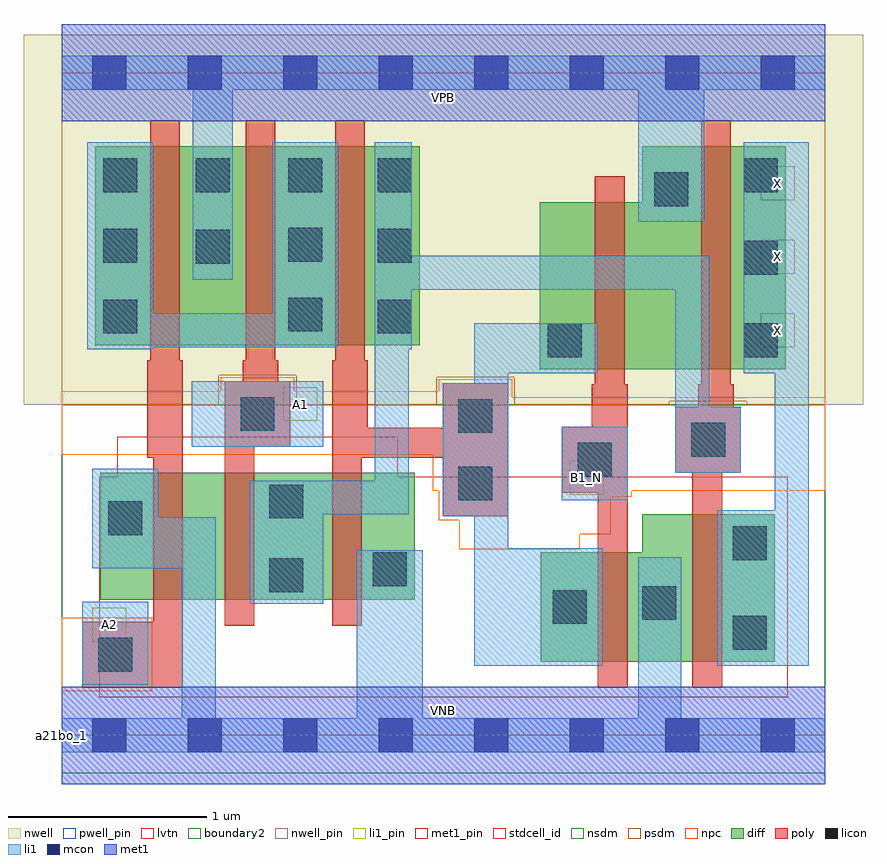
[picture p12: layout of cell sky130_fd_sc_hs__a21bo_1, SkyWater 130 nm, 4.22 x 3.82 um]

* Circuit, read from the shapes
.subckt sky130_fd_sc_hs__a21bo_1 A1 A2 B1_N VGND VNB VPB VPWR X
XM1 n1 A2 VGND VNB sky130_fd_pr__nfet_01v8_lvt w=0.64 l=0.15
XM2 n2 A1 n1 VNB sky130_fd_pr__nfet_01v8_lvt w=0.64 l=0.15
XM3 VGND n3 n2 VNB sky130_fd_pr__nfet_01v8_lvt w=0.64 l=0.15
XM4 VGND B1_N n3 VNB sky130_fd_pr__nfet_01v8_lvt w=0.55 l=0.15
XM5 X n2 VGND VNB sky130_fd_pr__nfet_01v8_lvt w=0.74 l=0.15
XM6 VPWR A2 n4 VPB sky130_fd_pr__pfet_01v8 w=1 l=0.15
XM7 n4 A1 VPWR VPB sky130_fd_pr__pfet_01v8 w=1 l=0.15
XM8 n2 n3 n4 VPB sky130_fd_pr__pfet_01v8 w=1 l=0.15
XM9 VPWR B1_N n3 VPB sky130_fd_pr__pfet_01v8 w=0.84 l=0.15
XM10 X n2 VPWR VPB sky130_fd_pr__pfet_01v8 w=1.12 l=0.15
.ends

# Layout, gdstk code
import gdstk
lib = gdstk.Library(unit=1e-6, precision=1e-09)
def R(c, l, rs):  # rectangles x0, y0, x1, y1
    for r in rs: c.add(gdstk.rectangle(r[:2], r[2:], *l))
def A(c, l, x, y, w, h, nx, ny, dx, dy):  # array of equal rectangles
    R(c, l, [(x+i*dx, y+j*dy, x+i*dx+w, y+j*dy+h) for i in range(nx) for j in range(ny)])
def P(c, l, *ps):  # polygons
    for p in ps: c.add(gdstk.Polygon(p, *l))
nwell_pin = (64, 16)
nwell = (64, 20)
diff = (65, 20)
poly = (66, 20)
licon = (66, 44)
li1_pin = (67, 16)
li1 = (67, 20)
mcon = (67, 44)
met1_pin = (68, 16)
met1 = (68, 20)
stdcell_id = (81, 4)
nsdm = (93, 44)
psdm = (94, 20)
npc = (95, 20)
pwell_pin = (122, 16)
lvtn = (125, 44)
boundary2 = (236, 0)

sky130_fd_sc_hs__a21bo_1 = lib.new_cell('sky130_fd_sc_hs__a21bo_1')
R(sky130_fd_sc_hs__a21bo_1, nwell_pin, [(0,3.085,3.84,3.33)])
R(sky130_fd_sc_hs__a21bo_1, nwell, [(-0.19,1.66,4.03,3.52)])
R(sky130_fd_sc_hs__a21bo_1, diff, [(0.195,0.68,1.775,1.32), (0.17,1.96,1.8,2.96)])
P(sky130_fd_sc_hs__a21bo_1, diff, [(3.585,1.11),(2.92,1.11),(2.92,0.92),(2.41,0.92),(2.41,0.37),(3.585,0.37)],
  [(3.64,2.96),(2.92,2.96),(2.92,2.68),(2.405,2.68),(2.405,1.84),(3.64,1.84)])
P(sky130_fd_sc_hs__a21bo_1, poly, [(3.415,1.65),(3.38,1.65),(3.38,1.765),(3.365,1.765),(3.365,3.09),(3.215,3.09),(3.215,1.765),(3.2,1.765),(3.2,1.65),(3.085,1.65),(3.085,1.32),(3.17,1.32),(3.17,0.24),(3.32,0.24),(3.32,1.32),(3.415,1.32)],
  [(2.845,1.765),(2.83,1.765),(2.83,2.81),(2.68,2.81),(2.68,1.765),(2.665,1.765),(2.665,1.55),(2.515,1.55),(2.515,1.22),(2.695,1.22),(2.695,0.24),(2.845,0.24)],
  [(2.245,1.77),(1.915,1.77),(1.915,1.545),(1.54,1.545),(1.54,1.885),(1.525,1.885),(1.525,3.09),(1.375,3.09),(1.375,1.885),(1.36,1.885),(1.36,0.55),(1.51,0.55),(1.51,1.395),(1.915,1.395),(1.915,1.1),(2.245,1.1)],
  [(1.15,1.78),(1.09,1.78),(1.09,1.885),(1.075,1.885),(1.075,3.09),(0.925,3.09),(0.925,1.885),(0.91,1.885),(0.91,1.78),(0.82,1.78),(0.82,0.55),(0.97,0.55),(0.97,1.45),(1.15,1.45)],
  [(0.61,1.885),(0.595,1.885),(0.595,3.09),(0.445,3.09),(0.445,1.885),(0.43,1.885),(0.43,1.395),(0.46,1.395),(0.46,0.57),(0.105,0.57),(0.105,0.24),(0.61,0.24)])
A(sky130_fd_sc_hs__a21bo_1, licon, 3.43, 1.9, 0.17, 0.17, 1, 3, 0, 0.415)
A(sky130_fd_sc_hs__a21bo_1, licon, 1.59, 2.02, 0.17, 0.17, 1, 3, 0, 0.355)
A(sky130_fd_sc_hs__a21bo_1, licon, 0.21, 2.73, 0.17, 0.17, 3, 1, 0.465, 0)
R(sky130_fd_sc_hs__a21bo_1, licon, [(0.185,0.32,0.355,0.49), (3.375,0.43,3.545,0.6), (2.47,0.56,2.64,0.73), (2.92,0.58,3.09,0.75), (1.045,0.72,1.215,0.89), (1.565,0.75,1.735,0.92), (3.375,0.88,3.545,1.05), (0.235,1.005,0.405,1.175), (1.045,1.09,1.215,1.26), (1.995,1.18,2.165,1.35), (2.595,1.3,2.765,1.47), (3.165,1.4,3.335,1.57), (1.995,1.52,2.165,1.69), (0.9,1.53,1.07,1.7), (2.445,1.9,2.615,2.07), (0.21,2.02,0.38,2.19), (1.14,2.03,1.31,2.2), (0.675,2.37,0.845,2.54), (0.21,2.375,0.38,2.545), (1.14,2.38,1.31,2.55), (2.98,2.66,3.15,2.83)])
A(sky130_fd_sc_hs__a21bo_1, li1_pin, 3.515, 1.95, 0.17, 0.17, 1, 3, 0, 0.37)
R(sky130_fd_sc_hs__a21bo_1, li1_pin, [(0.155,0.47,0.325,0.64), (2.555,1.21,2.725,1.38), (1.115,1.58,1.285,1.75)])
R(sky130_fd_sc_hs__a21bo_1, li1, [(0.105,0.255,0.435,0.67), (2.515,1.18,2.845,1.55), (0.655,1.45,1.315,1.78)])
P(sky130_fd_sc_hs__a21bo_1, li1, [(0.66,2.29),(0.66,3.245),(0,3.245),(0,3.415),(3.84,3.415),(3.84,3.245),(3.23,3.245),(3.23,2.58),(2.9,2.58),(2.9,3.245),(0.86,3.245),(0.86,2.29)],
  [(1.485,0.085),(1.485,0.93),(1.815,0.93),(1.815,0.085),(2.9,0.085),(2.9,0.895),(3.115,0.895),(3.115,0.085),(3.84,0.085),(3.84,-0.085),(0,-0.085),(0,0.085),(0.605,0.085),(0.605,0.84),(0.155,0.84),(0.155,1.34),(0.485,1.34),(0.485,1.095),(0.775,1.095),(0.775,0.085)],
  [(3.43,1.82),(3.43,2.98),(3.755,2.98),(3.755,0.35),(3.295,0.35),(3.295,1.13),(3.585,1.13),(3.585,1.82)],
  [(1.915,1.1),(1.915,1.77),(2.075,1.77),(2.075,2.07),(2.695,2.07),(2.695,1.82),(2.245,1.82),(2.245,0.94),(2.72,0.94),(2.72,0.35),(2.075,0.35),(2.075,1.1)],
  [(3.255,1.65),(3.415,1.65),(3.415,1.32),(3.085,1.32),(3.085,2.24),(1.76,2.24),(1.76,1.94),(1.745,1.94),(1.745,1.11),(1.315,1.11),(1.315,0.66),(0.945,0.66),(0.945,1.28),(1.575,1.28),(1.575,2.98),(1.76,2.98),(1.76,2.41),(3.255,2.41)],
  [(1.06,2.12),(1.06,2.98),(1.39,2.98),(1.39,1.95),(0.46,1.95),(0.46,1.94),(0.13,1.94),(0.13,2.98),(0.46,2.98),(0.46,2.12)])
A(sky130_fd_sc_hs__a21bo_1, mcon, 0.155, -0.085, 0.17, 0.17, 8, 2, 0.48, 3.33)
R(sky130_fd_sc_hs__a21bo_1, met1_pin, [(0,0,3.84,0.245), (0,3.085,3.84,3.33)])
R(sky130_fd_sc_hs__a21bo_1, met1, [(0,-0.245,3.84,0.245), (0,3.085,3.84,3.575)])
R(sky130_fd_sc_hs__a21bo_1, stdcell_id, [(0,0,3.84,3.33)])
R(sky130_fd_sc_hs__a21bo_1, nsdm, [(0,-0.19,3.84,1.66)])
P(sky130_fd_sc_hs__a21bo_1, psdm, [(3.84,3.52),(0,3.52),(0,1.66),(0.79,1.66),(0.79,1.81),(1.18,1.81),(1.18,1.66),(1.885,1.66),(1.885,1.8),(2.275,1.8),(2.275,1.66),(3.055,1.66),(3.055,1.68),(3.445,1.68),(3.445,1.66),(3.84,1.66)])
R(sky130_fd_sc_hs__a21bo_1, npc, [(0,0.22,0.455,0.59)])
P(sky130_fd_sc_hs__a21bo_1, npc, [(3.84,1.7),(2.265,1.7),(2.265,1.79),(1.895,1.79),(1.895,1.73),(1.17,1.73),(1.17,1.8),(0.8,1.8),(0.8,1.73),(0,1.73),(0,1.41),(1.865,1.41),(1.865,1.23),(1.895,1.23),(1.895,1.08),(2,1.08),(2,0.935),(2.605,0.935),(2.605,1.01),(2.76,1.01),(2.76,1.2),(2.865,1.2),(2.865,1.23),(3.84,1.23)])
R(sky130_fd_sc_hs__a21bo_1, pwell_pin, [(0,0,3.84,0.245)])
P(sky130_fd_sc_hs__a21bo_1, lvtn, [(3.65,1.3),(1.69,1.3),(1.69,1.5),(0.28,1.5),(0.28,1.3),(0.19,1.3),(0.19,0.19),(3.65,0.19)])
R(sky130_fd_sc_hs__a21bo_1, boundary2, [(0,0,3.84,3.33)])
sky130_fd_sc_hs__a21bo_1.add(gdstk.Label('a21bo_1', (0,0), layer=83, texttype=44))
sky130_fd_sc_hs__a21bo_1.add(gdstk.Label('VNB', (1.92,0.123), layer=64, texttype=59))
sky130_fd_sc_hs__a21bo_1.add(gdstk.Label('VPB', (1.92,3.208), layer=64, texttype=5))
sky130_fd_sc_hs__a21bo_1.add(gdstk.Label('VPWR', (1.92,3.208), layer=68, texttype=5))
sky130_fd_sc_hs__a21bo_1.add(gdstk.Label('VGND', (1.92,0.123), layer=68, texttype=5))
sky130_fd_sc_hs__a21bo_1.add(gdstk.Label('X', (3.6,2.035), layer=67, texttype=5))
sky130_fd_sc_hs__a21bo_1.add(gdstk.Label('X', (3.6,2.405), layer=67, texttype=5))
sky130_fd_sc_hs__a21bo_1.add(gdstk.Label('X', (3.6,2.775), layer=67, texttype=5))
sky130_fd_sc_hs__a21bo_1.add(gdstk.Label('B1_N', (2.64,1.295), layer=67, texttype=5))
sky130_fd_sc_hs__a21bo_1.add(gdstk.Label('A1', (1.2,1.665), layer=67, texttype=5))
sky130_fd_sc_hs__a21bo_1.add(gdstk.Label('A2', (0.24,0.555), layer=67, texttype=5))

lib.write_gds('sky130_fd_sc_hs__a21bo_1.gds')
